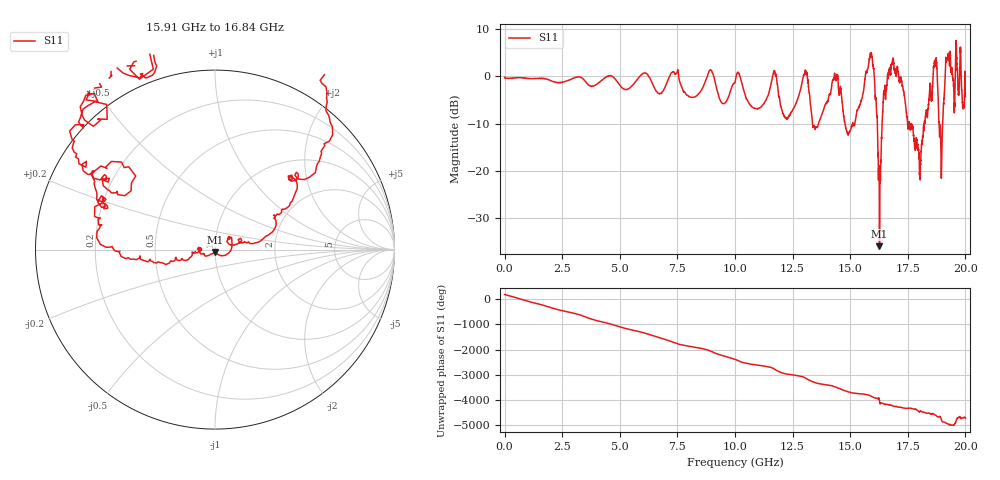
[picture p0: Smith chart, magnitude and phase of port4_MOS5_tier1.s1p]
! Created with skrf 1.8.0 (http://scikit-rf.org).
# GHz S RI R 50.0
!freq ReS11 ImS11
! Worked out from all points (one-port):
!   10000 points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, 3 MHz to 20 GHz, reference 50 ohm
!   lowest |S11| = -35.9 dB at 16.27 GHz (marker M1), VSWR 1.03, Z = 49.8 - j1.58 ohm
!   |S11| at or under -10 dB: 13.37 GHz to 13.63 GHz (261.2 MHz wide, 1.94 % of centre); 14.78 GHz to 15.1 GHz (326.7 MHz wide, 2.19 % of centre); 17.57 GHz to 18.22 GHz (647.6 MHz wide, 3.62 % of centre) (the widest 3 of 8)
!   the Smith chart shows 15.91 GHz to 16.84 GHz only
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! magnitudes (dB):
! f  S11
! 3 MHz  -0.2
! 2.503 GHz  -1.2
! 5.003 GHz  -1.9
! 7.503 GHz  1.1
! 8.181 GHz  -4.4
! 8.963 GHz  1.3
! 9.495 GHz  -5.8
! 10 GHz  -1.3
! 10.97 GHz  -6.9
! 11.71 GHz  1.2
! 12.12 GHz  -8.2
! 12.5 GHz  -7.1
! 13.06 GHz  1.3
! 13.54 GHz  -10.7
! 14.37 GHz  -0.4
! 15 GHz  -11.5
! 15.91 GHz  4.8
! 16.08 GHz  -3.6
! 16.27 GHz  -35.9
! 16.48 GHz  -3.6
! 16.78 GHz  2.2
! 17.26 GHz  -1.9
! 17.5 GHz  -11.0
! 18.04 GHz  -21.2
! 18.69 GHz  3.5
! 18.94 GHz  -15.7
! 19.25 GHz  4.2
! 20 GHz  -4.3
